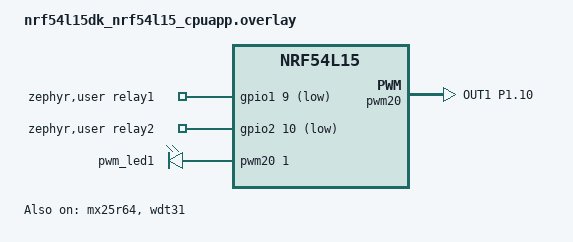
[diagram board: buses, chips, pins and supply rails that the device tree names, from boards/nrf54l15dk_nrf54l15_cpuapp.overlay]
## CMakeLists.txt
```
#
# Copyright (c) 2021 Nordic Semiconductor ASA
#
# SPDX-License-Identifier: LicenseRef-Nordic-5-Clause
#

cmake_minimum_required(VERSION 3.20.0)

find_package(Zephyr HINTS $ENV{ZEPHYR_BASE})

project(matter-plug-mote)

# Enable GNU STD support.
include(${ZEPHYR_CONNECTEDHOMEIP_MODULE_DIR}/config/nrfconnect/app/enable-gnu-std.cmake)

# NORDIC SDK APP START

# Include all source files that are located in the Matter common directory.
include(${ZEPHYR_NRF_MODULE_DIR}/samples/matter/common/cmake/source_common.cmake)

# Include Data Model utils
include(${ZEPHYR_NRF_MODULE_DIR}/samples/matter/common/cmake/data_model.cmake)

include(${ZEPHYR_NRF_MODULE_DIR}/samples/matter/common/cmake/zap_helpers.cmake)
ncs_get_zap_parent_dir(ZAP_PARENT_DIR)

target_include_directories(app PRIVATE
    src
    ${ZAP_PARENT_DIR}
)

if(CONFIG_AWS_IOT_INTEGRATION)
    add_subdirectory(src/aws_iot_integration)
endif()

target_sources(app PRIVATE
    src/io_relay.cpp
    src/app_task.cpp
    src/main.cpp
    src/zcl_callbacks.cpp
    ${CHIP_ROOT}/src/app/util/persistence/DeferredAttributePersistenceProvider.cpp
)

ncs_configure_data_model()
# NORDIC SDK APP END
```

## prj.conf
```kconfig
#
# Copyright (c) 2022 Nordic Semiconductor ASA
#
# SPDX-License-Identifier: LicenseRef-Nordic-5-Clause
#

# Enable CHIP
CONFIG_CHIP=y
CONFIG_CHIP_PROJECT_CONFIG="src/chip_project_config.h"

# Configure ZAP file name
CONFIG_NCS_SAMPLE_MATTER_ZAP_FILE_PATH="${APPLICATION_CONFIG_DIR}/src/default_zap/plug_mote.zap"

# 32774 == 0x8006 (plug-mote)
CONFIG_CHIP_DEVICE_PRODUCT_ID=32774
CONFIG_STD_CPP17=y

# Enable Matter pairing automatically on application start.
CONFIG_CHIP_ENABLE_PAIRING_AUTOSTART=y

# Enable Matter extended announcement and increase duration to 1 hour.
CONFIG_CHIP_BLE_EXT_ADVERTISING=y
CONFIG_CHIP_BLE_ADVERTISING_DURATION=60

# Add support for LEDs and buttons on Nordic development kits
CONFIG_DK_LIBRARY=y
CONFIG_PWM=n

# Enable logging for DK library (to see "Initializing LEDs" debug output)
CONFIG_LOG=y
CONFIG_DK_LIBRARY_LOG_LEVEL_INF=y

# Bluetooth Low Energy configuration
CONFIG_BT_DEVICE_NAME="MatterPlug"

# Other settings
CONFIG_THREAD_NAME=y
CONFIG_MPU_STACK_GUARD=y
CONFIG_RESET_ON_FATAL_ERROR=n
CONFIG_CHIP_LIB_SHELL=y
CONFIG_NCS_SAMPLE_MATTER_TEST_SHELL=y

# Reduce application size
CONFIG_USE_SEGGER_RTT=n

# Enable Factory Data feature
CONFIG_CHIP_FACTORY_DATA=y
CONFIG_CHIP_FACTORY_DATA_BUILD=y

# Disable APPROTECT for development
CONFIG_NRF_APPROTECT_USE_UICR=n
# CONFIG_NRF_APPROTECT_LOCK is not set

CONFIG_CLOCK_CONTROL_NRF_K32SRC_RC=y

# Hardware watchdog: reset if Main/Matter threads hang or loop forever
CONFIG_NCS_SAMPLE_MATTER_WATCHDOG=y

# Software watchdog: reboot if commissioned device stays offline too long
CONFIG_APP_NETWORK_WATCHDOG=y
```

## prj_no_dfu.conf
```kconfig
#
# Copyright (c) 2022 Nordic Semiconductor ASA
#
# SPDX-License-Identifier: LicenseRef-Nordic-5-Clause
#

# Enable CHIP
CONFIG_CHIP=y
CONFIG_CHIP_PROJECT_CONFIG="src/chip_project_config.h"

# Configure ZAP file name
CONFIG_NCS_SAMPLE_MATTER_ZAP_FILE_PATH="${APPLICATION_CONFIG_DIR}/src/default_zap/plug_mote.zap"

# 32773 == 0x8005 (example lighting-app)
CONFIG_CHIP_DEVICE_PRODUCT_ID=32773
CONFIG_STD_CPP17=y

# Enable Matter pairing automatically on application start.
CONFIG_CHIP_ENABLE_PAIRING_AUTOSTART=y

# Enable Matter extended announcement and increase duration to 1 hour.
CONFIG_CHIP_BLE_EXT_ADVERTISING=y
CONFIG_CHIP_BLE_ADVERTISING_DURATION=60

# Add support for LEDs and buttons on Nordic development kits
CONFIG_DK_LIBRARY=y
CONFIG_PWM=n

# Bluetooth Low Energy configuration
CONFIG_BT_DEVICE_NAME="MatterPlug"

# Other settings
CONFIG_THREAD_NAME=y
CONFIG_MPU_STACK_GUARD=y
CONFIG_RESET_ON_FATAL_ERROR=n
CONFIG_CHIP_LIB_SHELL=y
CONFIG_NCS_SAMPLE_MATTER_TEST_SHELL=y

# Reduce application size
CONFIG_USE_SEGGER_RTT=n

# Enable Factory Data feature
CONFIG_CHIP_FACTORY_DATA=y
CONFIG_CHIP_FACTORY_DATA_BUILD=y

# Disable Matter OTA DFU
CONFIG_CHIP_OTA_REQUESTOR=n

# Disable QSPI NOR
CONFIG_CHIP_QSPI_NOR=n

# Reduce application size
CONFIG_USE_SEGGER_RTT=n
CONFIG_CLOCK_CONTROL_NRF_K32SRC_RC=n

# Disable APPROTECT for development
CONFIG_NRF_APPROTECT_USE_UICR=n
# CONFIG_NRF_APPROTECT_LOCK is not set
```

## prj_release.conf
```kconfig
#
# Copyright (c) 2022 Nordic Semiconductor ASA
#
# SPDX-License-Identifier: LicenseRef-Nordic-5-Clause
#

# Enable CHIP
CONFIG_CHIP=y
CONFIG_CHIP_PROJECT_CONFIG="src/chip_project_config.h"

# Configure ZAP file name
CONFIG_NCS_SAMPLE_MATTER_ZAP_FILE_PATH="${APPLICATION_CONFIG_DIR}/src/default_zap/plug_mote.zap"

# 32773 == 0x8005 (example lighting-app)
CONFIG_CHIP_DEVICE_PRODUCT_ID=32773
CONFIG_STD_CPP17=y

# Enable Matter pairing automatically on application start.
CONFIG_CHIP_ENABLE_PAIRING_AUTOSTART=y

# Enable Matter extended announcement and increase duration to 1 hour.
CONFIG_CHIP_BLE_EXT_ADVERTISING=y
CONFIG_CHIP_BLE_ADVERTISING_DURATION=60

# Add support for LEDs and buttons on Nordic development kits
CONFIG_DK_LIBRARY=y
CONFIG_PWM=n

# Bluetooth Low Energy configuration
CONFIG_BT_DEVICE_NAME="MatterPlug"

# Enable system reset on fatal error
CONFIG_RESET_ON_FATAL_ERROR=y

# Disable all debug features
CONFIG_USE_SEGGER_RTT=n
CONFIG_SHELL=n
CONFIG_OPENTHREAD_SHELL=n
CONFIG_CONSOLE=n
CONFIG_UART_CONSOLE=n
CONFIG_SERIAL=n
CONFIG_LOG=n
CONFIG_LOG_MODE_MINIMAL=n
CONFIG_ASSERT_VERBOSE=n
CONFIG_ASSERT_NO_FILE_INFO=y
CONFIG_PRINTK=n
CONFIG_PRINTK_SYNC=n
CONFIG_THREAD_NAME=n
CONFIG_BOOT_BANNER=n

# Enable Factory Data feature
CONFIG_CHIP_FACTORY_DATA=y
CONFIG_CHIP_FACTORY_DATA_BUILD=y

# Enable Watchdog
CONFIG_NCS_SAMPLE_MATTER_WATCHDOG=y

# Enable LTO to decrease the flash usage.
CONFIG_LTO=y
CONFIG_ISR_TABLES_LOCAL_DECLARATION=y
```

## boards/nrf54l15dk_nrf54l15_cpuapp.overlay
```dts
/*
 * Copyright (c) 2024 Nordic Semiconductor ASA
 *
 * SPDX-License-Identifier: LicenseRef-Nordic-5-Clause
 */


/ {
	chosen {
		nordic,pm-ext-flash = &mx25r64;
	};

	aliases {
		// Configure PWM module for led1 (LED2 on the board)
		pwm-led1 = &pwm_led1;

		// Use watchdog wdt31 as the application watchdog
		watchdog0 = &wdt31;
	};

	/* Relay control pins - use zephyr,user node for custom GPIO configuration */
	zephyr,user {
		relay1-gpios = <&gpio1 9 GPIO_ACTIVE_LOW>;
		relay2-gpios = <&gpio2 10 GPIO_ACTIVE_LOW>;
	};

	pwmleds {
		compatible = "pwm-leds";
		pwm_led1: pwm_led_1 {
			pwms = <&pwm20 1 PWM_MSEC(20) PWM_POLARITY_NORMAL>;
		};
	};
};

// restore full RRAM and SRAM space - by default some parts are dedicated to FLRP
&cpuapp_rram {
	reg = <0x0 DT_SIZE_K(1524)>;
};

&cpuapp_sram {
	reg = <0x20000000 DT_SIZE_K(256)>;
	ranges = <0x0 0x20000000  0x40000>;
};

// TODO: re-enable HWFC once it's fixed
&uart20 {
	/delete-property/ hw-flow-control;
};

&mx25r64 {
	status = "okay";
};

&pwm20 {
	status = "okay";
	pinctrl-0 = <&pwm_default>;
	pinctrl-1 = <&pwm_sleep>;
	pinctrl-names = "default", "sleep";
};

&pinctrl {
	pwm_default: pwm_default {
		group1 {
			psels = <NRF_PSEL(PWM_OUT1, 1, 10)>;
		};
	};
	pwm_sleep: pwm_sleep {
		group1 {
			psels = <NRF_PSEL(PWM_OUT1, 1, 10)>;
			low-power-enable;
		};
	};
};

&wdt31 {
	status = "okay";
};
```

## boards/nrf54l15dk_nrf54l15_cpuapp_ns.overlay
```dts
/*
 * Copyright (c) 2024 Nordic Semiconductor ASA
 *
 * SPDX-License-Identifier: LicenseRef-Nordic-5-Clause
 */

/ {
	aliases {
		// Configure PWM module for led1 (LED2 on the board)
		pwm-led1 = &pwm_led1;

		// Use watchdog wdt31 as the application watchdog
		watchdog0 = &wdt31;
	};

	chosen {
		nordic,pm-ext-flash = &mx25r64;
	};

	/* Relay control pins - use zephyr,user node for custom GPIO configuration */
	zephyr,user {
		relay1-gpios = <&gpio1 9 GPIO_ACTIVE_LOW>;
		relay2-gpios = <&gpio2 10 GPIO_ACTIVE_LOW>;
	};

	pwmleds {
		compatible = "pwm-leds";
		pwm_led1: pwm_led_1 {
			pwms = <&pwm20 1 PWM_MSEC(20) PWM_POLARITY_NORMAL>;
		};
	};
};

// restore full RRAM and SRAM space - by default some parts are dedicated to FLRP
&cpuapp_rram {
	reg = <0x0 DT_SIZE_K(1524)>;
};

&cpuapp_sram {
	reg = <0x20000000 DT_SIZE_K(256)>;
	ranges = <0x0 0x20000000  0x40000>;
};

// TODO: re-enable HWFC once it's fixed
&uart20 {
	/delete-property/ hw-flow-control;
};

&mx25r64 {
	status = "okay";
};

&pwm20 {
	status = "okay";
	pinctrl-0 = <&pwm_default>;
	pinctrl-1 = <&pwm_sleep>;
	pinctrl-names = "default", "sleep";
};

&pinctrl {
	pwm_default: pwm_default {
		group1 {
			psels = <NRF_PSEL(PWM_OUT1, 1, 10)>;
		};
	};
	pwm_sleep: pwm_sleep {
		group1 {
			psels = <NRF_PSEL(PWM_OUT1, 1, 10)>;
			low-power-enable;
		};
	};
};

&wdt31 {
	status = "okay";
};

// Change IRQ ids to handle button interrupts.

// The default values for nRF54L15 are 219 and 269,
// but with TF-M they are reserved for the secure domain
// (218 and 268 are reserved for the non-secure domain).
&gpiote20 {
	interrupts = <218 NRF_DEFAULT_IRQ_PRIORITY>;
};

&gpiote30 {
	interrupts = <268 NRF_DEFAULT_IRQ_PRIORITY>;
};

&clock {
	status = "okay";
};
```

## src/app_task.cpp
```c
/*
 * Copyright (c) 2021 Nordic Semiconductor ASA
 *
 * SPDX-License-Identifier: LicenseRef-Nordic-5-Clause
 */

#include "app_task.h"

#ifdef CONFIG_AWS_IOT_INTEGRATION
#include "aws_iot_integration.h"
#endif

#ifdef CONFIG_APP_NETWORK_WATCHDOG
#include "network_watchdog.h"
#endif

#include "app/matter_init.h"
#include "app/task_executor.h"

#if defined(CONFIG_PWM)
#include "pwm/pwm_device.h"
#endif

#include <app-common/zap-generated/attributes/Accessors.h>
#include <app/clusters/identify-server/identify-server.h>
#include <app/server/Server.h>
#include <app/util/persistence/DefaultAttributePersistenceProvider.h>
#include <app/util/persistence/DeferredAttributePersistenceProvider.h>
#include <setup_payload/OnboardingCodesUtil.h>

#include <zephyr/logging/log.h>

LOG_MODULE_DECLARE(app, CONFIG_CHIP_APP_LOG_LEVEL);

using namespace ::chip;
using namespace ::chip::app;
using namespace ::chip::DeviceLayer;

namespace
{
constexpr EndpointId kLightEndpointId = 1;
constexpr uint8_t kDefaultMinLevel = 0;
constexpr uint8_t kDefaultMaxLevel = 254;
constexpr uint16_t kTriggerEffectTimeout = 5000;
constexpr uint16_t kTriggerEffectFinishTimeout = 1000;

k_timer sTriggerEffectTimer;

Identify sIdentify = { kLightEndpointId, AppTask::IdentifyStartHandler, AppTask::IdentifyStopHandler,
		       Clusters::Identify::IdentifyTypeEnum::kVisibleIndicator, AppTask::TriggerIdentifyEffectHandler };

bool sIsTriggerEffectActive = false;

#if defined(CONFIG_PWM)
const struct pwm_dt_spec sLightPwmDevice = PWM_DT_SPEC_GET(DT_ALIAS(pwm_led1));
#endif

// Define a custom attribute persister which makes actual write of the CurrentLevel attribute value
// to the non-volatile storage only when it has remained constant for 5 seconds. This is to reduce
// the flash wearout when the attribute changes frequently as a result of MoveToLevel command.
// DeferredAttribute object describes a deferred attribute, but also holds a buffer with a value to
// be written, so it must live so long as the DeferredAttributePersistenceProvider object.
DeferredAttribute gCurrentLevelPersister(ConcreteAttributePath(kLightEndpointId, Clusters::LevelControl::Id,
							       Clusters::LevelControl::Attributes::CurrentLevel::Id));

// Deferred persistence will be auto-initialized as soon as the default persistence is initialized
DefaultAttributePersistenceProvider gSimpleAttributePersistence;
DeferredAttributePersistenceProvider gDeferredAttributePersister(gSimpleAttributePersistence,
								 Span<DeferredAttribute>(&gCurrentLevelPersister, 1),
								 System::Clock::Milliseconds32(5000));

#define APPLICATION_BUTTON_MASK DK_BTN2_MSK
} /* namespace */

void AppTask::IdentifyStartHandler(Identify *)
{
	Nrf::PostTask(
		[] { Nrf::GetBoard().GetLED(Nrf::DeviceLeds::LED2).Blink(Nrf::LedConsts::kIdentifyBlinkRate_ms); });
}

void AppTask::IdentifyStopHandler(Identify *)
{
	Nrf::PostTask([] {
		Nrf::GetBoard().GetLED(Nrf::DeviceLeds::LED2).Set(false);

#if defined(CONFIG_PWM)
		Instance().mPWMDevice.ApplyLevel();
#endif
	});
}

void AppTask::TriggerEffectTimerTimeoutCallback(k_timer *timer)
{
	LOG_INF("Identify effect completed");

	sIsTriggerEffectActive = false;

	Nrf::GetBoard().GetLED(Nrf::DeviceLeds::LED2).Set(false);

#if defined(CONFIG_PWM)
	Instance().mPWMDevice.ApplyLevel();
#endif
}

void AppTask::TriggerIdentifyEffectHandler(Identify *identify)
{
	switch (identify->mCurrentEffectIdentifier) {
	/* Just handle all effects in the same way. */
	case Clusters::Identify::EffectIdentifierEnum::kBlink:
	case Clusters::Identify::EffectIdentifierEnum::kBreathe:
	case Clusters::Identify::EffectIdentifierEnum::kOkay:
	case Clusters::Identify::EffectIdentifierEnum::kChannelChange:
		LOG_INF("Identify effect identifier changed to %d",
			static_cast<uint8_t>(identify->mCurrentEffectIdentifier));

		sIsTriggerEffectActive = false;

		k_timer_stop(&sTriggerEffectTimer);
		k_timer_start(&sTriggerEffectTimer, K_MSEC(kTriggerEffectTimeout), K_NO_WAIT);

#if defined(CONFIG_PWM)
		Instance().mPWMDevice.SuppressOutput();
#endif
		Nrf::GetBoard().GetLED(Nrf::DeviceLeds::LED2).Blink(Nrf::LedConsts::kIdentifyBlinkRate_ms);

		break;
	case Clusters::Identify::EffectIdentifierEnum::kFinishEffect:
		LOG_INF("Identify effect finish triggered");
		k_timer_stop(&sTriggerEffectTimer);
		k_timer_start(&sTriggerEffectTimer, K_MSEC(kTriggerEffectFinishTimeout), K_NO_WAIT);
		break;
	case Clusters::Identify::EffectIdentifierEnum::kStopEffect:
		if (sIsTriggerEffectActive) {
			sIsTriggerEffectActive = false;

			k_timer_stop(&sTriggerEffectTimer);

			Nrf::GetBoard().GetLED(Nrf::DeviceLeds::LED2).Set(false);

#if defined(CONFIG_PWM)
			Instance().mPWMDevice.ApplyLevel();
#endif
		}
		break;
	default:
		LOG_ERR("Received invalid effect identifier.");
		break;
	}
}

void AppTask::LightingActionEventHandler(const LightingEvent &event)
{
#if defined(CONFIG_PWM)
	Nrf::PWMDevice::Action_t action = Nrf::PWMDevice::INVALID_ACTION;
	int32_t actor = 0;
	if (event.Actor == LightingActor::Button) {
		action = Instance().mPWMDevice.IsTurnedOn() ? Nrf::PWMDevice::OFF_ACTION : Nrf::PWMDevice::ON_ACTION;
		actor = static_cast<int32_t>(event.Actor);
	}

	if (action == Nrf::PWMDevice::INVALID_ACTION || !Instance().mPWMDevice.InitiateAction(action, actor, NULL)) {
		LOG_INF("An action could not be initiated.");
	}
#else
	IO_Relay::Action_t action = IO_Relay::INVALID_ACTION;
	int32_t actor = 0;
	if (event.Actor == LightingActor::Button) {
		action = Instance().mIO_RelayDevice.IsTurnedOn() ? IO_Relay::OFF_ACTION : IO_Relay::ON_ACTION;
		actor = static_cast<int32_t>(event.Actor);
	}

	if (action == IO_Relay::INVALID_ACTION || !Instance().mIO_RelayDevice.InitiateAction(action, actor, NULL)) {
		LOG_INF("An action could not be initiated.");
	}
#endif
}

void AppTask::ButtonEventHandler(Nrf::ButtonState state, Nrf::ButtonMask hasChanged)
{
	static int64_t buttonPressedTime = 0;

	// check if the button is pressed
	if ((APPLICATION_BUTTON_MASK & hasChanged) & state) {
		// record the time when the button is pressed
		buttonPressedTime = k_uptime_get();
	}
	// check if the button is released
	else if ((APPLICATION_BUTTON_MASK & hasChanged) & ~state) {
		int64_t now = k_uptime_get();
		if (buttonPressedTime > 0 && (now - buttonPressedTime) >= 5000) { // long press for more than 5 seconds, reset the factory
			LOG_INF("Factory Reset triggered by long button press");
			chip::Server::GetInstance().ScheduleFactoryReset();
		} else if (buttonPressedTime > 0) { // short press, toggle the light state
			Nrf::PostTask([] {
				LightingEvent event;
				event.Actor = LightingActor::Button;
				LightingActionEventHandler(event);
			});
		}
		buttonPressedTime = 0;
	}
}

#ifdef CONFIG_AWS_IOT_INTEGRATION
bool AppTask::AWSIntegrationCallback(struct aws_iot_integration_cb_data *data)
{
	LOG_INF("Attribute change requested from AWS IoT: %d", data->value);

	Protocols::InteractionModel::Status status;

	VerifyOrDie(data->error == 0);

	if (data->attribute_id == ATTRIBUTE_ID_ONOFF) {
		/* write the new on/off value */
		status = Clusters::OnOff::Attributes::OnOff::Set(kLightEndpointId, data->value);
		if (status != Protocols::InteractionModel::Status::Success) {
			LOG_ERR("Updating on/off cluster failed: %x", to_underlying(status));
			return false;
		}
	} else if (data->attribute_id == ATTRIBUTE_ID_LEVEL_CONTROL) {
		/* write the current level */
		status = Clusters::LevelControl::Attributes::CurrentLevel::Set(kLightEndpointId, data->value);

		if (status != Protocols::InteractionModel::Status::Success) {
			LOG_ERR("Updating level cluster failed: %x", to_underlying(status));
			return false;
		}
	}

	return true;
}
#endif /* CONFIG_AWS_IOT_INTEGRATION */

#if defined(CONFIG_PWM)
void AppTask::ActionInitiated(Nrf::PWMDevice::Action_t action, int32_t actor)
{
	if (action == Nrf::PWMDevice::ON_ACTION) {
		LOG_INF("Turn On Action has been initiated");
	} else if (action == Nrf::PWMDevice::OFF_ACTION) {
		LOG_INF("Turn Off Action has been initiated");
	} else if (action == Nrf::PWMDevice::LEVEL_ACTION) {
		LOG_INF("Level Action has been initiated");
	}
}

void AppTask::ActionCompleted(Nrf::PWMDevice::Action_t action, int32_t actor)
{
	if (action == Nrf::PWMDevice::ON_ACTION) {
		LOG_INF("Turn On Action has been completed");
	} else if (action == Nrf::PWMDevice::OFF_ACTION) {
		LOG_INF("Turn Off Action has been completed");
	} else if (action == Nrf::PWMDevice::LEVEL_ACTION) {
		LOG_INF("Level Action has been completed");
	}

	if (actor == static_cast<int32_t>(LightingActor::Button)) {
		Instance().UpdateClusterState();
	}
}
#endif /* CONFIG_PWM */

void AppTask::UpdateClusterState()
{
	SystemLayer().ScheduleLambda([this] {
#if defined(CONFIG_PWM)
		/* write the new on/off value */
		Protocols::InteractionModel::Status status =
			Clusters::OnOff::Attributes::OnOff::Set(kLightEndpointId, mPWMDevice.IsTurnedOn());
#else
		Protocols::InteractionModel::Status status =
		Clusters::OnOff::Attributes::OnOff::Set(kLightEndpointId, mIO_RelayDevice.IsTurnedOn());
#endif
		if (status != Protocols::InteractionModel::Status::Success) {
			LOG_ERR("Updating on/off cluster failed: %x", to_underlying(status));
		}

#if defined(CONFIG_PWM)
		/* write the current level */
		status = Clusters::LevelControl::Attributes::CurrentLevel::Set(kLightEndpointId, mPWMDevice.GetLevel());
#endif

		if (status != Protocols::InteractionModel::Status::Success) {
			LOG_ERR("Updating level cluster failed: %x", to_underlying(status));
		}
	});
}

void AppTask::InitPWMDDevice()
{
#if defined(CONFIG_PWM)
	/* Initialize lighting device (PWM) */
	uint8_t minLightLevel = kDefaultMinLevel;
	Clusters::LevelControl::Attributes::MinLevel::Get(kLightEndpointId, &minLightLevel);

	uint8_t maxLightLevel = kDefaultMaxLevel;
	Clusters::LevelControl::Attributes::MaxLevel::Get(kLightEndpointId, &maxLightLevel);

	Clusters::LevelControl::Attributes::CurrentLevel::TypeInfo::Type currentLevel;
	Clusters::LevelControl::Attributes::CurrentLevel::Get(kLightEndpointId, currentLevel);

	int ret =
		mPWMDevice.Init(&sLightPwmDevice, minLightLevel, maxLightLevel, currentLevel.ValueOr(kDefaultMaxLevel));
	if (ret != 0) {
		LOG_ERR("Failed to initialize PWD device.");
	}

	mPWMDevice.SetCallbacks(ActionInitiated, ActionCompleted);
#endif
}

CHIP_ERROR AppTask::Init()
{
	/* Initialize Matter stack */
	ReturnErrorOnFailure(Nrf::Matter::PrepareServer(Nrf::Matter::InitData{ .mPostServerInitClbk = []() {
		app::SetAttributePersistenceProvider(&gDeferredAttributePersister);
		gSimpleAttributePersistence.Init(Nrf::Matter::GetPersistentStorageDelegate());
		return CHIP_NO_ERROR;
	} }));

	if (!Nrf::GetBoard().Init(ButtonEventHandler)) {
		LOG_ERR("User interface initialization failed.");
		return CHIP_ERROR_INCORRECT_STATE;
	}

	/* Register Matter event handler that controls the connectivity status LED based on the captured Matter network
	 * state. */
	ReturnErrorOnFailure(Nrf::Matter::RegisterEventHandler(Nrf::Board::DefaultMatterEventHandler, 0));

#ifdef CONFIG_AWS_IOT_INTEGRATION
	int retAws = aws_iot_integration_register_callback(AWSIntegrationCallback);
	if (retAws) {
		LOG_ERR("aws_iot_integration_register_callback() failed");
		return chip::System::MapErrorZephyr(retAws);
	}
#endif

	/* Initialize trigger effect timer */
	k_timer_init(&sTriggerEffectTimer, &AppTask::TriggerEffectTimerTimeoutCallback, nullptr);

	ReturnErrorOnFailure(Nrf::Matter::StartServer());

#ifdef CONFIG_APP_NETWORK_WATCHDOG
	ReturnErrorOnFailure(NetworkWatchdog::Init());
#endif

	return CHIP_NO_ERROR;
}

CHIP_ERROR AppTask::StartApp()
{
	ReturnErrorOnFailure(Init());

	while (true) {
		Nrf::DispatchNextTask();
	}

	return CHIP_NO_ERROR;
}

BootReasonType AppTask::ResetReasonGet(void)
{
    BootReasonType bootReason;

    DiagnosticDataProviderImplNrf::GetDefaultInstance().GetBootReason(bootReason);


    return bootReason; 
}
```

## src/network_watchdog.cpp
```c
/*
 * Copyright (c) 2026
 *
 * SPDX-License-Identifier: LicenseRef-Nordic-5-Clause
 */

#include "network_watchdog.h"

#include "app/task_executor.h"

#include <app/server/Server.h>
#include <platform/CHIPDeviceLayer.h>
#include <platform/ConnectivityManager.h>
#include <platform/nrfconnect/ConnectivityManagerImpl.h>

#include <zephyr/kernel.h>
#include <zephyr/logging/log.h>
#include <zephyr/sys/reboot.h>

LOG_MODULE_DECLARE(app, CONFIG_CHIP_APP_LOG_LEVEL);

using namespace ::chip;
using namespace ::chip::DeviceLayer;

namespace NetworkWatchdog
{
namespace
{

k_timer sCheckTimer;
int64_t sOfflineSinceMs = 0;

bool IsNetworkConnected()
{
#if defined(CONFIG_NET_L2_OPENTHREAD)
	return ConnectivityMgr().IsThreadAttached();
#elif defined(CONFIG_CHIP_WIFI)
	return ConnectivityMgr().IsWiFiStationConnected();
#else
	return true;
#endif
}

bool ShouldMonitorConnectivity()
{
	if (Server::GetInstance().GetFabricTable().FabricCount() == 0) {
		return false;
	}

	return ConnectivityMgrImpl().IsIPv6NetworkProvisioned();
}

void CheckConnectivity()
{
	const int64_t nowMs = k_uptime_get();
	const int64_t bootGraceMs =
		static_cast<int64_t>(CONFIG_APP_NETWORK_WATCHDOG_BOOT_GRACE_SEC) * 1000;

	if (nowMs < bootGraceMs) {
		sOfflineSinceMs = 0;
		return;
	}

	if (!ShouldMonitorConnectivity()) {
		sOfflineSinceMs = 0;
		return;
	}

	if (IsNetworkConnected()) {
		if (sOfflineSinceMs != 0) {
			LOG_INF("Network connectivity restored");
			sOfflineSinceMs = 0;
		}
		return;
	}

	if (sOfflineSinceMs == 0) {
		sOfflineSinceMs = nowMs;
		LOG_WRN("Network offline; reboot after %d s if not restored",
			CONFIG_APP_NETWORK_WATCHDOG_TIMEOUT_SEC);
		return;
	}

	const int64_t offlineMs = nowMs - sOfflineSinceMs;
	const int64_t timeoutMs =
		static_cast<int64_t>(CONFIG_APP_NETWORK_WATCHDOG_TIMEOUT_SEC) * 1000;

	if (offlineMs < timeoutMs) {
		return;
	}

	LOG_ERR("Network offline for %lld s; rebooting", offlineMs / 1000);
	k_msleep(100);
	sys_reboot(SYS_REBOOT_COLD);
}

void TimerHandler(k_timer * /* timer */)
{
	Nrf::PostTask([] { CheckConnectivity(); });
}

} /* namespace */

CHIP_ERROR Init()
{
	k_timer_init(&sCheckTimer, TimerHandler, nullptr);
	k_timer_start(&sCheckTimer, K_SECONDS(CONFIG_APP_NETWORK_WATCHDOG_CHECK_INTERVAL_SEC),
		      K_SECONDS(CONFIG_APP_NETWORK_WATCHDOG_CHECK_INTERVAL_SEC));

	LOG_INF("Network watchdog started (timeout %d s, check every %d s, boot grace %d s)",
		CONFIG_APP_NETWORK_WATCHDOG_TIMEOUT_SEC, CONFIG_APP_NETWORK_WATCHDOG_CHECK_INTERVAL_SEC,
		CONFIG_APP_NETWORK_WATCHDOG_BOOT_GRACE_SEC);

	return CHIP_NO_ERROR;
}

} /* namespace NetworkWatchdog */
```
